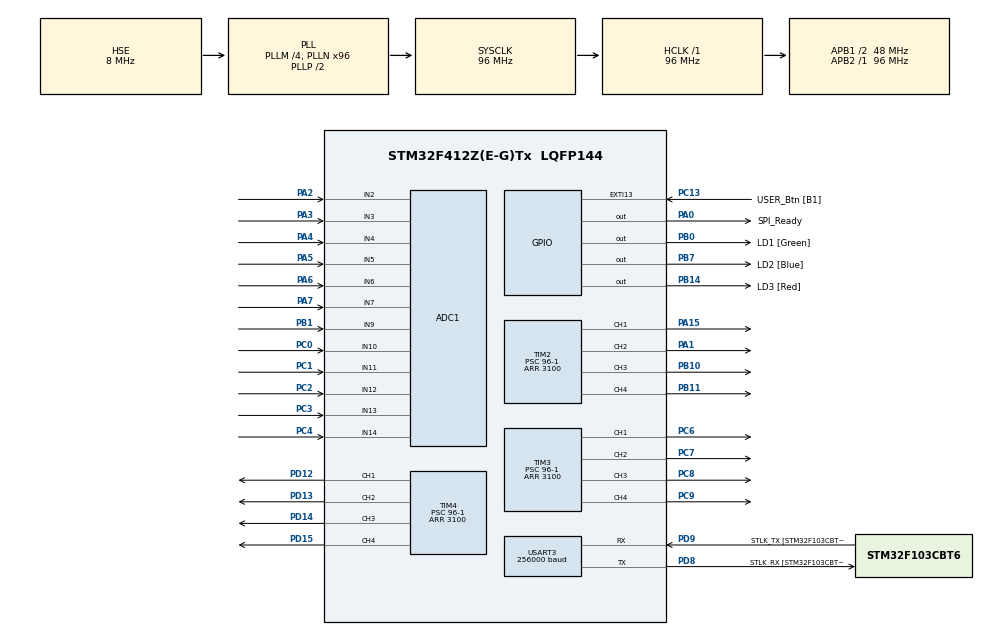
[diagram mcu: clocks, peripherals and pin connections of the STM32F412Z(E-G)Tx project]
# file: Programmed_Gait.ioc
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ADC1.Channel-0\#ChannelRegularConversion=ADC_CHANNEL_4
ADC1.Channel-1\#ChannelRegularConversion=ADC_CHANNEL_13
ADC1.Channel-10\#ChannelRegularConversion=ADC_CHANNEL_12
ADC1.Channel-11\#ChannelRegularConversion=ADC_CHANNEL_9
ADC1.Channel-2\#ChannelRegularConversion=ADC_CHANNEL_2
ADC1.Channel-3\#ChannelRegularConversion=ADC_CHANNEL_11
ADC1.Channel-4\#ChannelRegularConversion=ADC_CHANNEL_14
ADC1.Channel-5\#ChannelRegularConversion=ADC_CHANNEL_7
ADC1.Channel-6\#ChannelRegularConversion=ADC_CHANNEL_5
ADC1.Channel-7\#ChannelRegularConversion=ADC_CHANNEL_6
ADC1.Channel-8\#ChannelRegularConversion=ADC_CHANNEL_10
ADC1.Channel-9\#ChannelRegularConversion=ADC_CHANNEL_3
ADC1.ContinuousConvMode=ENABLE
ADC1.DMAContinuousRequests=ENABLE
ADC1.DataAlign=ADC_DATAALIGN_RIGHT
ADC1.EOCSelection=ADC_EOC_SEQ_CONV
ADC1.NbrOfConversion=12
ADC1.NbrOfConversionFlag=1
ADC1.Rank-0\#ChannelRegularConversion=1
ADC1.Rank-1\#ChannelRegularConversion=2
ADC1.Rank-10\#ChannelRegularConversion=11
ADC1.Rank-11\#ChannelRegularConversion=12
ADC1.Rank-2\#ChannelRegularConversion=3
ADC1.Rank-3\#ChannelRegularConversion=4
ADC1.Rank-4\#ChannelRegularConversion=5
ADC1.Rank-5\#ChannelRegularConversion=6
ADC1.Rank-6\#ChannelRegularConversion=7
ADC1.Rank-7\#ChannelRegularConversion=8
ADC1.Rank-8\#ChannelRegularConversion=9
ADC1.Rank-9\#ChannelRegularConversion=10
ADC1.SamplingTime-0\#ChannelRegularConversion=ADC_SAMPLETIME_84CYCLES
ADC1.SamplingTime-1\#ChannelRegularConversion=ADC_SAMPLETIME_84CYCLES
ADC1.SamplingTime-10\#ChannelRegularConversion=ADC_SAMPLETIME_84CYCLES
ADC1.SamplingTime-11\#ChannelRegularConversion=ADC_SAMPLETIME_84CYCLES
ADC1.SamplingTime-2\#ChannelRegularConversion=ADC_SAMPLETIME_84CYCLES
ADC1.SamplingTime-3\#ChannelRegularConversion=ADC_SAMPLETIME_84CYCLES
ADC1.SamplingTime-4\#ChannelRegularConversion=ADC_SAMPLETIME_84CYCLES
ADC1.SamplingTime-5\#ChannelRegularConversion=ADC_SAMPLETIME_84CYCLES
ADC1.SamplingTime-6\#ChannelRegularConversion=ADC_SAMPLETIME_84CYCLES
ADC1.SamplingTime-7\#ChannelRegularConversion=ADC_SAMPLETIME_84CYCLES
ADC1.SamplingTime-8\#ChannelRegularConversion=ADC_SAMPLETIME_84CYCLES
ADC1.SamplingTime-9\#ChannelRegularConversion=ADC_SAMPLETIME_84CYCLES
ADC1.ScanConvMode=ENABLE
ADC1.master=1
Dma.ADC1.0.Direction=DMA_PERIPH_TO_MEMORY
Dma.ADC1.0.FIFOMode=DMA_FIFOMODE_DISABLE
Dma.ADC1.0.Instance=DMA2_Stream4
Dma.ADC1.0.MemDataAlignment=DMA_MDATAALIGN_HALFWORD
Dma.ADC1.0.MemInc=DMA_MINC_ENABLE
Dma.ADC1.0.Mode=DMA_CIRCULAR
Dma.ADC1.0.PeriphDataAlignment=DMA_PDATAALIGN_HALFWORD
Dma.ADC1.0.PeriphInc=DMA_PINC_DISABLE
Dma.ADC1.0.Priority=DMA_PRIORITY_LOW
Dma.Request0=ADC1
Mcu.Family=STM32F4
Mcu.Name=STM32F412Z(E-G)Tx
Mcu.Package=LQFP144
NVIC.DMA2_Stream4_IRQn=true\:2\:0\:true\:false\:true\:false\:true\:true
NVIC.EXTI15_10_IRQn=true\:0\:0\:false\:false\:true\:true\:true\:true
NVIC.PriorityGroup=NVIC_PRIORITYGROUP_4
NVIC.TIM1_BRK_TIM9_IRQn=true\:0\:0\:true\:false\:true\:true\:true\:true
NVIC.TIM5_IRQn=true\:1\:0\:true\:false\:true\:true\:true\:true
PA0.GPIO_Label=SPI_Ready
PA0.Signal=GPIO_Output
PA1.Signal=S_TIM2_CH2
PA13.GPIO_Label=TMS
PA13.Mode=Serial_Wire
PA13.Signal=SYS_JTMS-SWDIO
PA14.GPIO_Label=TCK
PA14.Mode=Serial_Wire
PA14.Signal=SYS_JTCK-SWCLK
PA15.Signal=S_TIM2_CH1_ETR
PA2.Signal=ADCx_IN2
PA3.Signal=ADCx_IN3
PA4.Signal=ADCx_IN4
PA5.Signal=ADCx_IN5
PA6.Signal=ADCx_IN6
PA7.Signal=ADCx_IN7
PB0.GPIO_Label=LD1 [Green]
PB0.Signal=GPIO_Output
PB1.Signal=ADCx_IN9
PB10.Signal=S_TIM2_CH3
PB11.Signal=S_TIM2_CH4
PB14.GPIO_Label=LD3 [Red]
PB14.Signal=GPIO_Output
PB3.GPIO_Label=SWO
PB3.Signal=SYS_JTDO-SWO
PB7.GPIO_Label=LD2 [Blue]
PB7.Signal=GPIO_Output
PC0.Signal=ADCx_IN10
PC1.Signal=ADCx_IN11
PC10.Signal=SPI3_SCK
PC13.GPIO_Label=USER_Btn [B1]
PC13.Signal=GPXTI13
PC14-OSC32_IN.Mode=LSE-External-Oscillator
PC14-OSC32_IN.Signal=RCC_OSC32_IN
PC15-OSC32_OUT.Mode=LSE-External-Oscillator
PC15-OSC32_OUT.Signal=RCC_OSC32_OUT
PC2.Signal=ADCx_IN12
PC3.Signal=ADCx_IN13
PC4.Signal=ADCx_IN14
PC6.Signal=S_TIM3_CH1
PC7.Signal=S_TIM3_CH2
PC8.Signal=S_TIM3_CH3
PC9.Signal=S_TIM3_CH4
PD12.Signal=S_TIM4_CH1
PD13.Signal=S_TIM4_CH2
PD14.Signal=S_TIM4_CH3
PD15.Signal=S_TIM4_CH4
PD8.GPIO_Label=STLK_RX [STM32F103CBT6_PA3]
PD8.Mode=Asynchronous
PD8.Signal=USART3_TX
PD9.GPIO_Label=STLK_TX [STM32F103CBT6_PA2]
PD9.Mode=Asynchronous
PD9.Signal=USART3_RX
PH0\ -\ OSC_IN.GPIO_Label=MCO
PH0\ -\ OSC_IN.Mode=HSE-External-Clock-Source
PH0\ -\ OSC_IN.Signal=RCC_OSC_IN
PH1\ -\ OSC_OUT.Mode=HSE-External-Clock-Source
PH1\ -\ OSC_OUT.Signal=RCC_OSC_OUT
ProjectManager.HeapSize=0x2EE0
ProjectManager.StackSize=0x400
ProjectManager.TargetToolchain=Makefile
RCC.48MHZClocksFreq_Value=24000000
RCC.AHBFreq_Value=96000000
RCC.APB1CLKDivider=RCC_HCLK_DIV2
RCC.APB1Freq_Value=48000000
RCC.APB1TimFreq_Value=96000000
RCC.APB2Freq_Value=96000000
RCC.APB2TimFreq_Value=96000000
RCC.CortexFreq_Value=96000000
RCC.HCLKFreq_Value=96000000
RCC.HSE_VALUE=8000000
RCC.HSI_VALUE=16000000
RCC.PLLM=4
RCC.PLLMUL=RCC_PLL_MUL9
RCC.PLLN=96
RCC.PLLQ=4
RCC.PLLSourceVirtual=RCC_PLLSOURCE_HSE
RCC.PRESCALERUSB=RCC_USBCLKSOURCE_PLL_DIV1_5
RCC.SYSCLKFreq_VALUE=96000000
RCC.SYSCLKSource=RCC_SYSCLKSOURCE_PLLCLK
RCC.SYSCLKSourceVirtual=RCC_SYSCLKSOURCE_PLLCLK
RCC.USBFreq_Value=48000000
RCC.VCOOutputFreq_Value=192000000
SH.ADCx_IN10.0=ADC1_IN10,IN10
SH.ADCx_IN11.0=ADC1_IN11,IN11
SH.ADCx_IN12.0=ADC1_IN12,IN12
SH.ADCx_IN13.0=ADC1_IN13,IN13
SH.ADCx_IN14.0=ADC1_IN14,IN14
SH.ADCx_IN2.0=ADC1_IN2,IN2
SH.ADCx_IN3.0=ADC1_IN3,IN3
SH.ADCx_IN4.0=ADC1_IN4,IN4
SH.ADCx_IN5.0=ADC1_IN5,IN5
SH.ADCx_IN6.0=ADC1_IN6,IN6
SH.ADCx_IN7.0=ADC1_IN7,IN7
SH.ADCx_IN9.0=ADC1_IN9,IN9
SH.S_TIM2_CH1_ETR.0=TIM2_CH1,PWM Generation1 CH1
SH.S_TIM2_CH2.0=TIM2_CH2,PWM Generation2 CH2
SH.S_TIM2_CH3.0=TIM2_CH3,PWM Generation3 CH3
SH.S_TIM2_CH4.0=TIM2_CH4,PWM Generation4 CH4
SH.S_TIM3_CH1.0=TIM3_CH1,PWM Generation1 CH1
SH.S_TIM3_CH2.0=TIM3_CH2,PWM Generation2 CH2
SH.S_TIM3_CH3.0=TIM3_CH3,PWM Generation3 CH3
SH.S_TIM3_CH4.0=TIM3_CH4,PWM Generation4 CH4
SH.S_TIM4_CH1.0=TIM4_CH1,PWM Generation1 CH1
SH.S_TIM4_CH2.0=TIM4_CH2,PWM Generation2 CH2
SH.S_TIM4_CH3.0=TIM4_CH3,PWM Generation3 CH3
SH.S_TIM4_CH4.0=TIM4_CH4,PWM Generation4 CH4
TIM2.AutoReloadPreload=TIM_AUTORELOAD_PRELOAD_ENABLE
TIM2.Channel-PWM\ Generation1\ CH1=TIM_CHANNEL_1
TIM2.Channel-PWM\ Generation2\ CH2=TIM_CHANNEL_2
TIM2.Channel-PWM\ Generation3\ CH3=TIM_CHANNEL_3
TIM2.Channel-PWM\ Generation4\ CH4=TIM_CHANNEL_4
TIM2.OCFastMode_PWM-PWM\ Generation1\ CH1=TIM_OCFAST_ENABLE
TIM2.OCFastMode_PWM-PWM\ Generation2\ CH2=TIM_OCFAST_ENABLE
TIM2.OCFastMode_PWM-PWM\ Generation3\ CH3=TIM_OCFAST_ENABLE
TIM2.OCFastMode_PWM-PWM\ Generation4\ CH4=TIM_OCFAST_ENABLE
TIM2.Period=3100
TIM2.Prescaler=96-1
TIM2.Pulse-PWM\ Generation1\ CH1=0
TIM3.AutoReloadPreload=TIM_AUTORELOAD_PRELOAD_ENABLE
TIM3.Channel-PWM\ Generation1\ CH1=TIM_CHANNEL_1
TIM3.Channel-PWM\ Generation2\ CH2=TIM_CHANNEL_2
TIM3.Channel-PWM\ Generation3\ CH3=TIM_CHANNEL_3
TIM3.Channel-PWM\ Generation4\ CH4=TIM_CHANNEL_4
TIM3.OCFastMode_PWM-PWM\ Generation1\ CH1=TIM_OCFAST_ENABLE
TIM3.OCFastMode_PWM-PWM\ Generation2\ CH2=TIM_OCFAST_ENABLE
TIM3.OCFastMode_PWM-PWM\ Generation3\ CH3=TIM_OCFAST_ENABLE
TIM3.OCFastMode_PWM-PWM\ Generation4\ CH4=TIM_OCFAST_ENABLE
TIM3.Period=3100
TIM3.Prescaler=96-1
TIM4.AutoReloadPreload=TIM_AUTORELOAD_PRELOAD_ENABLE
TIM4.Channel-PWM\ Generation1\ CH1=TIM_CHANNEL_1
TIM4.Channel-PWM\ Generation2\ CH2=TIM_CHANNEL_2
TIM4.Channel-PWM\ Generation3\ CH3=TIM_CHANNEL_3
TIM4.Channel-PWM\ Generation4\ CH4=TIM_CHANNEL_4
TIM4.OCFastMode_PWM-PWM\ Generation1\ CH1=TIM_OCFAST_ENABLE
TIM4.OCFastMode_PWM-PWM\ Generation2\ CH2=TIM_OCFAST_ENABLE
TIM4.OCFastMode_PWM-PWM\ Generation3\ CH3=TIM_OCFAST_ENABLE
TIM4.OCFastMode_PWM-PWM\ Generation4\ CH4=TIM_OCFAST_ENABLE
TIM4.Period=3100
TIM4.Prescaler=96-1
TIM5.Period=500
TIM5.Prescaler=96-1
TIM9.Period=10000
TIM9.Prescaler=96-1
USART3.BaudRate=256000
USART3.VirtualMode=VM_ASYNC
VP_TIM2_VS_ClockSourceINT.Mode=Internal
VP_TIM3_VS_ClockSourceINT.Mode=Internal
VP_TIM4_VS_ClockSourceINT.Mode=Internal
VP_TIM5_VS_ClockSourceINT.Mode=Internal
VP_TIM9_VS_ClockSourceINT.Mode=Internal
board=NUCLEO-F412ZG

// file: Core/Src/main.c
/* USER CODE BEGIN Header */
/**
 ******************************************************************************
 * @file           : main.c
 * @brief          : Main program body
 ******************************************************************************
 * @attention
 *
 * Copyright (c) 2024 STMicroelectronics.
 * All rights reserved.
 *
 * This software is licensed under terms that can be found in the LICENSE file
 * in the root directory of this software component.
 * If no LICENSE file comes with this software, it is provided AS-IS.
 *
 ******************************************************************************
 */
/* USER CODE END Header */
#include "main.h"
#include "adc.h"
#include "dma.h"
#include "tim.h"
#include "usart.h"
#include "gpio.h"

/* USER CODE BEGIN Includes */
#include <math.h>
#include <string.h>
#include "arm_math.h"
#include "calibration_ADC.h"

#include "signal_processing.h"
/* USER CODE END Includes */

/* USER CODE BEGIN PD */

// Number of joints
#define JOINTS 12

//Ranges for each type of joint
#define BODY_RANGE_MAX 15.0
#define BODY_RANGE_MIN -10.0
#define FEMUR_RANGE_MAX 55.0
#define FEMUR_RANGE_MIN -35.0
#define TIBIA_RANGE_MAX 40//15.0
#define TIBIA_RANGE_MIN -96//-15.0
// 0PWM_BFR,1PWM_BBR, 2PWM_BBL, 3PWM_TFR, 4PWM_FFR, 5PWM_BFL, 6PWM_FFL, 7PWM_TFL, 8PWM_FBL, 9PWM_TBL, 10PWM_TBR, 11PWM_FBR

//WITHOUT PID
#define DELTA_REF_FEMUR 42.65021f
#define DELTA_REF_TIBIA 18.34979f
#define DELTA_REF_BODY  0

#define MID_POINT_BFR 96.1285553f
#define MID_POINT_BBR 80.5f
#define MID_POINT_BBL 85.4869385f
#define MID_POINT_TFR (69.0105972f + DELTA_REF_TIBIA)
#define MID_POINT_FFR (71.9034348f + DELTA_REF_FEMUR)
#define MID_POINT_BFL 93.9473724f
#define MID_POINT_FFL (134.817856f - DELTA_REF_FEMUR)
#define MID_POINT_TFL (120.135033f - DELTA_REF_TIBIA)
#define MID_POINT_FBL (130.440994f - DELTA_REF_FEMUR)
#define MID_POINT_TBL (122.615303f - DELTA_REF_TIBIA)
#define MID_POINT_TBR (55.4315529f + DELTA_REF_TIBIA)
#define MID_POINT_FBR (55.8714142f + DELTA_REF_FEMUR)

#define TIM9_TICK (float32_t)0.01 //s
#define TIM5_TICK (float32_t)0.5 //ms

#define ONE_SECOND 1000/TIM5_TICK  //milliseconds

// Parameters to transform Degrees(�) values to PWM (Ton in microseconds)
#define K_TON (float32_t)(1000.0 / 140.0)
#define BIAS_TON (float32_t)500

//Median Filter
#define WINDOW_SIZE 80

//PROGRAMMED GAIT CONSTANTS
#define PREPARE_TIME 0.3f //seconds
#define PARABOLA_TIME 0.2f //seconds
#define RESTORE_TIME 0.3f //seconds
#define MOVE_FWD_TIME 0.1f //seconds

#define GAIT_PERIOD (4*PREPARE_TIME+4*PARABOLA_TIME+4*RESTORE_TIME+4*MOVE_FWD_TIME) //seconds

#define BL 0
#define FL 1
#define BR 2
#define FR 3

#define STANDING_HEIGHT (float32_t)160  //mm //135.75 //mm

#define PARABOLA_HEIGHT (float32_t)40		//mm
#define PARABOLA_LENGTH (float32_t)100  //mm

#define L_FEMUR (float32_t)100 //mm
#define L_TIBIA (float32_t)100.70866 //mm
#define PSI (float32_t)2.51591*M_PI/180 //rad

#define A (float32_t)24 //mm
#define B (float32_t)40.5 //mm
#define C (float32_t)28.66176 //mm
#define D (float32_t)27 //mm

#define DELTA (float32_t)0.7984834029 //rad
#define EPSILON (float32_t)1.570796327 //rad

#define MID_POINT_SOLID_FEMUR (float32_t)42.65021 //deg
#define MID_POINT_SOLID_TIBIA (float32_t)16.75397157 //deg

/* USER CODE END PD */

/* USER CODE BEGIN PM */
#define __round_uint(x) ((x) >= 0 ? (uint16_t)((x) + (float32_t)0.5) : (uint16_t)((x) - (float32_t)0.5))
#define __round_int(x) ((x) >= 0 ? (int16_t)((x) + (float32_t)0.5) : (int16_t)((x) - (float32_t)0.5))
/* USER CODE END PM */

/* USER CODE BEGIN PV */
// For tx floats under UART (Serial plot)
typedef union float2byte
{
  float angle;
  uint8_t angle_bytes[4];
} float2byte;

//Median filter
volatile float32_t filter_in_arm_angle[12];
volatile float32_t median_filteredValue[JOINTS];
volatile spMedianFilter median_filter[JOINTS];

// PID Variables
volatile float32_t error = 0;
volatile float32_t previous_error[JOINTS] = {0, 0, 0, 0, 0, 0, 0, 0, 0, 0, 0, 0};
volatile float32_t control_signal = 0;
volatile float32_t error_acum[JOINTS] = {0, 0, 0, 0, 0, 0, 0, 0, 0, 0, 0, 0};
volatile float32_t error_dif = 0;
volatile uint16_t pwm_pid_out[JOINTS] = {0, 0, 0, 0, 0, 0, 0, 0, 0, 0, 0, 0};

// PID constants
float32_t kp[JOINTS] = {0.25,0.25,0.25,0.25,0.25,0.25,0.25,0.25,0.25,0.25,0.25,0.25};
float32_t kd[JOINTS] = {0,0,0,0,0,0,0,0,0,0,0,0};
float32_t ki[JOINTS] = {0.1,0.1,0.1,0.1,0.1,0.1,0.1,0.1,0.1,0.1,0.1,0.1};

// Offset of each joint
const float32_t mid_point_joints[12] = {MID_POINT_BFR, MID_POINT_BBR, MID_POINT_BBL, MID_POINT_TFR, MID_POINT_FFR, MID_POINT_BFL, MID_POINT_FFL, MID_POINT_TFL, MID_POINT_FBL, MID_POINT_TBL, MID_POINT_TBR, MID_POINT_FBR};

// Global Flags for state machines
volatile uint8_t up_down_vector[JOINTS] = {0, 0, 0, 0, 0, 0, 0, 0, 0, 0, 0, 0}; // To know if the servos have to go up or down: 1 is up, 0 is down

// Arrays used to set the pwm of each servo in a for loop
TIM_HandleTypeDef* htim[3];
uint32_t channel[4] = {TIM_CHANNEL_1, TIM_CHANNEL_2, TIM_CHANNEL_3, TIM_CHANNEL_4};

const float32_t joint_range[12][2] = {{BODY_RANGE_MIN, BODY_RANGE_MAX},
                                    {-BODY_RANGE_MAX, -BODY_RANGE_MIN},
                                    {-BODY_RANGE_MAX, -BODY_RANGE_MIN},
                                    {TIBIA_RANGE_MIN, TIBIA_RANGE_MAX},
                                    {FEMUR_RANGE_MIN, FEMUR_RANGE_MAX},
                                    {BODY_RANGE_MIN, BODY_RANGE_MAX},
                                    {-FEMUR_RANGE_MAX, -FEMUR_RANGE_MIN},
                                    {-TIBIA_RANGE_MAX, -TIBIA_RANGE_MIN},
                                    {-FEMUR_RANGE_MAX, -FEMUR_RANGE_MIN},
                                    {-TIBIA_RANGE_MAX, -TIBIA_RANGE_MIN},
                                    {TIBIA_RANGE_MIN, TIBIA_RANGE_MAX},
                                    {FEMUR_RANGE_MIN, FEMUR_RANGE_MAX}};

// Global Buffers
// Buffer rx SPI
volatile float32_t target_joint[12] ={MID_POINT_BFR, MID_POINT_BBR, MID_POINT_BBL, MID_POINT_TFR, MID_POINT_FFR, MID_POINT_BFL, MID_POINT_FFL, MID_POINT_TFL, MID_POINT_FBL, MID_POINT_TBL, MID_POINT_TBR, MID_POINT_FBR};
volatile uint16_t raw_angle_ADC[2][12] = {0, 0, 0, 0, 0, 0, 0, 0, 0, 0, 0, 0}; // ADC measurement with DMA

volatile uint8_t current_buffer = 0;

// Ticks of timer
volatile uint8_t send_uart = 0;
volatile uint16_t time_debounce = 0;  //To debounce user button

// Init program at reset with user button
volatile uint8_t init_nucleo = 0;

volatile uint8_t pid_enable = 0;

// Calibration variables
const float32_t *calibration_table[12] = {&ADC_VALUES_SERVO_0[0][0], &ADC_VALUES_SERVO_1[0][0], &ADC_VALUES_SERVO_2[0][0], &ADC_VALUES_SERVO_3[0][0], &ADC_VALUES_SERVO_4[0][0], &ADC_VALUES_SERVO_5[0][0], &ADC_VALUES_SERVO_6[0][0], &ADC_VALUES_SERVO_7[0][0], &ADC_VALUES_SERVO_8[0][0], &ADC_VALUES_SERVO_9[0][0], &ADC_VALUES_SERVO_10[0][0], &ADC_VALUES_SERVO_11[0][0]};

/////////////////////////////

// VARIABLES QUE NO DEBEN SER GLOBALES, pero es mas c�modo para debuggear

// podr�an ser locales
volatile float32_t f_joint_angle[JOINTS] = {0, 0, 0, 0, 0, 0, 0, 0, 0, 0, 0, 0};
volatile uint8_t uart_tx_buffer[2 + 12 * 4 + 12 * 4 + 12 * 4 + 12 * 4];

volatile float32_t H[4] = {STANDING_HEIGHT,STANDING_HEIGHT,STANDING_HEIGHT,STANDING_HEIGHT};
volatile float32_t D1[4] = {-PARABOLA_LENGTH/4,PARABOLA_LENGTH/2,PARABOLA_LENGTH/4,0};

volatile float32_t phi_femur_servo[4] = {0,0,0,0};
volatile float32_t phi_tibia_servo[4] = {0,0,0,0};

/* USER CODE END PV */

void SystemClock_Config(void);
/* USER CODE BEGIN PFP */
void prepare_for_parabola(uint8_t primary_limb, uint8_t secondary_limb,float32_t height, float32_t initial_phase, float32_t current_phase);
void parabola(uint8_t limb, float32_t initial_phase, float32_t current_phase);
void restore_assisting_limbs(uint8_t primary_limb, uint8_t secondary_limb,float32_t height, float32_t initial_phase, float32_t current_phase);
void move_forward(void);
void compute_angles(void);

float adc2angle(uint16_t adc_value, uint8_t up_down, const float32_t *table_ptr);
uint16_t angle2ton_us(float);
float ton_us2angle(uint16_t ton_us);
void move_servos(uint8_t joint, uint16_t ton);

int8_t State_Machine_Actuation(void);
void State_Machine_Control(void);
/* USER CODE END PFP */

/* USER CODE BEGIN 0 */

// CAMBIAR NOMBRES PARA QUE SEA MAS DESCRIPTIVO
float2byte u_dummy1;
float2byte u_dummy2;
float2byte u_dummy3;
float2byte u_dummy4;
/* USER CODE END 0 */

int main(void)
{

  /* MCU Configuration--------------------------------------------------------*/

  /* Reset of all peripherals, Initializes the Flash interface and the Systick. */
  HAL_Init();

  /* Configure the system clock */
  SystemClock_Config();

  /* Initialize all configured peripherals */
  MX_GPIO_Init();
  MX_DMA_Init();
  MX_TIM2_Init();
  MX_USART3_UART_Init();
  MX_ADC1_Init();
  MX_TIM3_Init();
  MX_TIM4_Init();
  MX_TIM5_Init();
  MX_TIM9_Init();
  /* USER CODE BEGIN 2 */
	while(init_nucleo == 0) HAL_Delay(10);

  HAL_TIM_Base_Start(&htim2);
  HAL_TIM_Base_Start(&htim2);
  HAL_TIM_PWM_Start(&htim2, TIM_CHANNEL_1);
  HAL_TIM_PWM_Start(&htim2, TIM_CHANNEL_2);
  HAL_TIM_PWM_Start(&htim2, TIM_CHANNEL_3);
  HAL_TIM_PWM_Start(&htim2, TIM_CHANNEL_4);

  HAL_TIM_Base_Start(&htim3);
  HAL_TIM_PWM_Start(&htim3, TIM_CHANNEL_1);
  HAL_TIM_PWM_Start(&htim3, TIM_CHANNEL_2);
  HAL_TIM_PWM_Start(&htim3, TIM_CHANNEL_3);
  HAL_TIM_PWM_Start(&htim3, TIM_CHANNEL_4);

  HAL_TIM_Base_Start(&htim4);
  HAL_TIM_PWM_Start(&htim4, TIM_CHANNEL_1);
  HAL_TIM_PWM_Start(&htim4, TIM_CHANNEL_2);
  HAL_TIM_PWM_Start(&htim4, TIM_CHANNEL_3);
  HAL_TIM_PWM_Start(&htim4, TIM_CHANNEL_4);

  for (uint8_t joint = 0; joint < 12; joint++)
  {
		median_filter[joint] = spCreateMedianFilter(WINDOW_SIZE);
		pwm_pid_out[joint] = angle2ton_us(mid_point_joints[joint]);
  }

  while (HAL_ADC_Start_DMA(&hadc1, (uint32_t *)raw_angle_ADC, 12 * 2) == HAL_BUSY)
    ;

  // Initialize htim vector used to set pwm in for loops
  htim[0] = &htim2;
  htim[1] = &htim3;
  htim[2] = &htim4;

  /* USER CODE END 2 */

  /* Infinite loop */
  /* USER CODE BEGIN WHILE */

  // Main state
  uart_tx_buffer[0] = 0xFF;
  uart_tx_buffer[1] = 0xFF;

  // Joints set to default initial angle
  // for (uint8_t joint = 0; joint < JOINTS; joint++)
  // {
  //   move_servos(joint, angle2ton_us(mid_point_joints[joint]));
  // }

  compute_angles();

  HAL_Delay(5000);

  while (HAL_TIM_Base_Start_IT(&htim5) == HAL_BUSY);

  while (HAL_TIM_Base_Start_IT(&htim9) == HAL_BUSY);

  while (1)
  {
    //Serial Plot
    if (send_uart)
    {
      for (int i = 0; i < JOINTS; i++)
      {
				u_dummy1.angle = target_joint[i];
        u_dummy2.angle = ton_us2angle(pwm_pid_out[i]);
				u_dummy3.angle = error_acum[i];
        u_dummy4.angle = f_joint_angle[i];

        uart_tx_buffer[16 * i + 2] = u_dummy1.angle_bytes[3];
        uart_tx_buffer[16 * i + 3] = u_dummy1.angle_bytes[2];
        uart_tx_buffer[16 * i + 4] = u_dummy1.angle_bytes[1];
        uart_tx_buffer[16 * i + 5] = u_dummy1.angle_bytes[0];

        uart_tx_buffer[16 * i + 6] = u_dummy2.angle_bytes[3];
        uart_tx_buffer[16 * i + 7] = u_dummy2.angle_bytes[2];
        uart_tx_buffer[16 * i + 8] = u_dummy2.angle_bytes[1];
        uart_tx_buffer[16 * i + 9] = u_dummy2.angle_bytes[0];

				uart_tx_buffer[16 * i + 10] = u_dummy3.angle_bytes[3];
        uart_tx_buffer[16 * i + 11] = u_dummy3.angle_bytes[2];
        uart_tx_buffer[16 * i + 12] = u_dummy3.angle_bytes[1];
        uart_tx_buffer[16 * i + 13] = u_dummy3.angle_bytes[0];

				uart_tx_buffer[16 * i + 14] = u_dummy4.angle_bytes[3];
        uart_tx_buffer[16 * i + 15] = u_dummy4.angle_bytes[2];
        uart_tx_buffer[16 * i + 16] = u_dummy4.angle_bytes[1];
        uart_tx_buffer[16 * i + 17] = u_dummy4.angle_bytes[0];
      }
			HAL_UART_Transmit(&huart3, (const uint8_t*) uart_tx_buffer, 16 * JOINTS + 2, HAL_MAX_DELAY);

      send_uart = 0;
    }
  }

    /* USER CODE END WHILE */

}

void SystemClock_Config(void)
{
  RCC_OscInitTypeDef RCC_OscInitStruct = {0};
  RCC_ClkInitTypeDef RCC_ClkInitStruct = {0};

  /** Configure the main internal regulator output voltage
  */
  __HAL_RCC_PWR_CLK_ENABLE();
  __HAL_PWR_VOLTAGESCALING_CONFIG(PWR_REGULATOR_VOLTAGE_SCALE1);

  /** Initializes the RCC Oscillators according to the specified parameters
  * in the RCC_OscInitTypeDef structure.
  */
  RCC_OscInitStruct.OscillatorType = RCC_OSCILLATORTYPE_HSE;
  RCC_OscInitStruct.HSEState = RCC_HSE_BYPASS;
  RCC_OscInitStruct.PLL.PLLState = RCC_PLL_ON;
  RCC_OscInitStruct.PLL.PLLSource = RCC_PLLSOURCE_HSE;
  RCC_OscInitStruct.PLL.PLLM = 4;
  RCC_OscInitStruct.PLL.PLLN = 96;
  RCC_OscInitStruct.PLL.PLLP = RCC_PLLP_DIV2;
  RCC_OscInitStruct.PLL.PLLQ = 4;
  RCC_OscInitStruct.PLL.PLLR = 2;
  if (HAL_RCC_OscConfig(&RCC_OscInitStruct) != HAL_OK)
  {
    Error_Handler();
  }

  /** Initializes the CPU, AHB and APB buses clocks
  */
  RCC_ClkInitStruct.ClockType = RCC_CLOCKTYPE_HCLK|RCC_CLOCKTYPE_SYSCLK
                              |RCC_CLOCKTYPE_PCLK1|RCC_CLOCKTYPE_PCLK2;
  RCC_ClkInitStruct.SYSCLKSource = RCC_SYSCLKSOURCE_PLLCLK;
  RCC_ClkInitStruct.AHBCLKDivider = RCC_SYSCLK_DIV1;
  RCC_ClkInitStruct.APB1CLKDivider = RCC_HCLK_DIV2;
  RCC_ClkInitStruct.APB2CLKDivider = RCC_HCLK_DIV1;

  if (HAL_RCC_ClockConfig(&RCC_ClkInitStruct, FLASH_LATENCY_3) != HAL_OK)
  {
    Error_Handler();
  }
}

/* USER CODE BEGIN 4 */

void HAL_ADC_ConvHalfCpltCallback(ADC_HandleTypeDef *hadc)
{
  current_buffer = 0;
}

void HAL_ADC_ConvCpltCallback(ADC_HandleTypeDef *hadc)
{
  current_buffer = 1;
}

void HAL_GPIO_EXTI_Callback(uint16_t GPIO_Pin)
{
	if(GPIO_Pin == USER_Btn_Pin && init_nucleo == 0)
	{
		init_nucleo = 1;
    time_debounce = ONE_SECOND;
	}else if(GPIO_Pin == USER_Btn_Pin && init_nucleo == 1 && time_debounce == 0)
  {
    pid_enable = 0;  //disable PID

		for (uint8_t joint = 0; joint < JOINTS; joint++)

			__HAL_TIM_SET_COMPARE(htim[joint / 4], channel[joint % 4], angle2ton_us(mid_point_joints[joint]));

		HAL_Delay(1000);  //Delay to ignore bouncing of user button, and establish the default position before reset

		//Turn off pwm without interrupting ton.
		for(uint8_t i= 0; i<JOINTS;i++)
		{
			//wait for ton to finish
			while(__HAL_TIM_GET_COUNTER(htim[i / 4]) < __HAL_TIM_GET_COMPARE(htim[i / 4], channel[i % 4]));

			HAL_TIM_PWM_Stop(htim[i / 4], channel[i % 4]);
		}

		HAL_NVIC_SystemReset();
  }
}

void HAL_TIM_PeriodElapsedCallback(TIM_HandleTypeDef *timer)
{
  static float32_t t_step = 0;
  static float32_t phase = 0;

  if (timer == &htim5)
  {
    if (time_debounce > 0)
      time_debounce--;

    uint8_t buffer_to_copy = current_buffer;

    for (uint8_t joint = 0; joint < 12; joint++)
    {
      filter_in_arm_angle[joint] = raw_angle_ADC[buffer_to_copy][joint];
			median_filteredValue[joint] = spMedianFilterInsert(median_filter[joint], filter_in_arm_angle[joint]);  //Median Filter
    }

  }

  if (timer == &htim9)
  {
    if(t_step >= GAIT_PERIOD) t_step = 0;

    phase = t_step / GAIT_PERIOD;

    //*Compute H and D1 (0-BL, 1-FL, 2-BR, 3-FR)
    //Stage 0
    if (phase < PREPARE_TIME/GAIT_PERIOD)
      //Lift BR (BL assists)
      prepare_for_parabola(BR,BL,20,0,phase);

    //Stage 1
    else if (phase < (PREPARE_TIME+PARABOLA_TIME)/GAIT_PERIOD)
      //Parabola forward FL
      parabola(FL, PREPARE_TIME/GAIT_PERIOD,phase);

    //Stage 2
    else if (phase < (PREPARE_TIME+PARABOLA_TIME+RESTORE_TIME)/GAIT_PERIOD)
      //Restore BR and BL
      restore_assisting_limbs(BR,BL,20,(PREPARE_TIME+PARABOLA_TIME)/GAIT_PERIOD,phase);

    //Stage 3
    else if (phase < (PREPARE_TIME+PARABOLA_TIME+RESTORE_TIME+MOVE_FWD_TIME)/GAIT_PERIOD)
      //Move all limbs backwards to push the body forward
      move_forward();

    //Stage 4
    else if (phase < (2*PREPARE_TIME+PARABOLA_TIME+RESTORE_TIME+MOVE_FWD_TIME)/GAIT_PERIOD)
      //Lift FL (FR assists)
      prepare_for_parabola(FL,FR,20,(PREPARE_TIME+PARABOLA_TIME+RESTORE_TIME+MOVE_FWD_TIME)/GAIT_PERIOD,phase);

    //Stage 5
    else if (phase < (2*PREPARE_TIME+2*PARABOLA_TIME+RESTORE_TIME+MOVE_FWD_TIME)/GAIT_PERIOD)
      //Parabola forward BR
      parabola(BR, (2*PREPARE_TIME+PARABOLA_TIME+RESTORE_TIME+MOVE_FWD_TIME)/GAIT_PERIOD,phase);

    //Stage 6
    else if (phase < (2*PREPARE_TIME+2*PARABOLA_TIME+2*RESTORE_TIME+MOVE_FWD_TIME)/GAIT_PERIOD)
      //Restore FR and FL
      restore_assisting_limbs(FL,FR,20,(2*PREPARE_TIME+2*PARABOLA_TIME+RESTORE_TIME+MOVE_FWD_TIME)/GAIT_PERIOD,phase);

    //Stage 7
    else if (phase < (2*PREPARE_TIME+2*PARABOLA_TIME+2*RESTORE_TIME+2*MOVE_FWD_TIME)/GAIT_PERIOD)
      //Move all limbs backwards to push the body forward
      move_forward();

    //Stage 8
    else if (phase < (3*PREPARE_TIME+2*PARABOLA_TIME+2*RESTORE_TIME+2*MOVE_FWD_TIME)/GAIT_PERIOD)
      //Lift BL (BR assists)
      prepare_for_parabola(BL,BR,20,(2*PREPARE_TIME+2*PARABOLA_TIME+2*RESTORE_TIME+2*MOVE_FWD_TIME)/GAIT_PERIOD,phase);

    //Stage 9
    else if (phase < (3*PREPARE_TIME+3*PARABOLA_TIME+2*RESTORE_TIME+2*MOVE_FWD_TIME)/GAIT_PERIOD)
      //Parabola forward FR
      parabola(FR, (3*PREPARE_TIME+2*PARABOLA_TIME+2*RESTORE_TIME+2*MOVE_FWD_TIME)/GAIT_PERIOD,phase);

    //Stage 10
    else if (phase < (3*PREPARE_TIME+3*PARABOLA_TIME+3*RESTORE_TIME+2*MOVE_FWD_TIME)/GAIT_PERIOD)
      //Restore BL and BR
      restore_assisting_limbs(BL,BR,20,(3*PREPARE_TIME+3*PARABOLA_TIME+2*RESTORE_TIME+2*MOVE_FWD_TIME)/GAIT_PERIOD,phase);

    //Stage 11
    else if (phase < (3*PREPARE_TIME+3*PARABOLA_TIME+3*RESTORE_TIME+3*MOVE_FWD_TIME)/GAIT_PERIOD)
      //Move all limbs backwards to push the body forward
      move_forward();

    //Stage 12
    else if (phase < (4*PREPARE_TIME+3*PARABOLA_TIME+3*RESTORE_TIME+3*MOVE_FWD_TIME)/GAIT_PERIOD)
      //Lift FR (FL assists)
      prepare_for_parabola(FR,FL,20,(3*PREPARE_TIME+3*PARABOLA_TIME+3*RESTORE_TIME+3*MOVE_FWD_TIME)/GAIT_PERIOD,phase);

    //Stage 13
    else if (phase < (4*PREPARE_TIME+4*PARABOLA_TIME+3*RESTORE_TIME+3*MOVE_FWD_TIME)/GAIT_PERIOD)
      //Parabola forward BL
      parabola(BL, (4*PREPARE_TIME+3*PARABOLA_TIME+3*RESTORE_TIME+3*MOVE_FWD_TIME)/GAIT_PERIOD,phase);

    //Stage 14
    else if (phase < (4*PREPARE_TIME+4*PARABOLA_TIME+4*RESTORE_TIME+3*MOVE_FWD_TIME)/GAIT_PERIOD)
      //Restore FR and FL
      restore_assisting_limbs(FR,FL,20,(4*PREPARE_TIME+4*PARABOLA_TIME+3*RESTORE_TIME+3*MOVE_FWD_TIME)/GAIT_PERIOD,phase);

    //Stage 15
    else if (phase < (4*PREPARE_TIME+4*PARABOLA_TIME+4*RESTORE_TIME+4*MOVE_FWD_TIME)/GAIT_PERIOD)
      //Move all limbs backwards to push the body forward
      move_forward();

    t_step +=(float32_t)0.01;
		compute_angles();
    send_uart = 1;
	}
}

void prepare_for_parabola(uint8_t primary_limb, uint8_t secondary_limb,float32_t height,float32_t initial_phase , float32_t current_phase)
{
  H[primary_limb] = STANDING_HEIGHT - height/(PREPARE_TIME/GAIT_PERIOD) * (current_phase - initial_phase);
  H[secondary_limb] = STANDING_HEIGHT - 10/(PREPARE_TIME/GAIT_PERIOD) * (current_phase - initial_phase);
}

void parabola(uint8_t limb,float32_t initial_phase ,float32_t current_phase)
{
  H[limb] = STANDING_HEIGHT - PARABOLA_HEIGHT * ( 1 - 4*powf(-(current_phase-initial_phase)/(PARABOLA_TIME/GAIT_PERIOD)+0.5f,2) );
  D1[limb] = PARABOLA_LENGTH/2 - (current_phase-initial_phase) * PARABOLA_LENGTH/(PARABOLA_TIME/GAIT_PERIOD);
}

void restore_assisting_limbs(uint8_t primary_limb, uint8_t secondary_limb,float32_t height, float32_t initial_phase, float32_t current_phase)
{
  H[primary_limb] = STANDING_HEIGHT - height + height/(RESTORE_TIME/GAIT_PERIOD) * (current_phase-initial_phase);
  H[secondary_limb] = STANDING_HEIGHT - 10 + 10/(RESTORE_TIME/GAIT_PERIOD) * (current_phase-initial_phase);
}

void move_forward(void)
{
  D1[BL] += (TIM9_TICK/GAIT_PERIOD) * (PARABOLA_LENGTH/4)/(MOVE_FWD_TIME/GAIT_PERIOD);
  D1[FL] += (TIM9_TICK/GAIT_PERIOD) * (PARABOLA_LENGTH/4)/(MOVE_FWD_TIME/GAIT_PERIOD);
  D1[BR] += (TIM9_TICK/GAIT_PERIOD) * (PARABOLA_LENGTH/4)/(MOVE_FWD_TIME/GAIT_PERIOD);
  D1[FR] += (TIM9_TICK/GAIT_PERIOD) * (PARABOLA_LENGTH/4)/(MOVE_FWD_TIME/GAIT_PERIOD);
}

void compute_angles(void)
{
  float32_t D2_sqrd, D2, phi_femur,phi_tibia,W,W_sqrd = 0;

  for (uint8_t limb = 0; limb < 4; limb++)
  {
    //*Compute Femur and tibia angles
    D2_sqrd = H[limb]*H[limb] + D1[limb]*D1[limb];
    D2 = sqrtf(D2_sqrd);

    phi_femur = M_PI/2 - atanf(D1[limb]/H[limb]) - acosf((D2_sqrd + L_FEMUR*L_FEMUR-L_TIBIA*L_TIBIA)/(2*L_FEMUR*D2));
    phi_tibia = M_PI/2 + atanf(D1[limb]/H[limb]) - acosf((D2_sqrd + L_TIBIA*L_TIBIA-L_FEMUR*L_FEMUR)/(2*L_TIBIA*D2));

    phi_tibia = phi_tibia + PSI;

    //*Translate tibia angle to tibia servo angle
    W_sqrd = C*C + D*D - 2*C*D*cosf(M_PI+DELTA-EPSILON-phi_tibia);
    W = sqrtf(W_sqrd);

    phi_tibia_servo[limb] = M_PI - DELTA - acosf((C*C + W_sqrd - D*D) / (2*C*W)) - acosf((A*A + W_sqrd - B*B) / (2*A*W));

    //*Translate angles used in kinematics equations to calibrated servo values
    phi_femur_servo[limb] = -phi_femur*180/M_PI + MID_POINT_SOLID_FEMUR;
    phi_tibia_servo[limb] = -phi_tibia_servo[limb] *180/M_PI + MID_POINT_SOLID_TIBIA;
  }
  //*Add servo mid points to compute final targets
  // 0PWM_BFR,1PWM_BBR, 2PWM_BBL, 3PWM_TFR, 4PWM_FFR, 5PWM_BFL, 6PWM_FFL, 7PWM_TFL, 8PWM_FBL, 9PWM_TBL, 10PWM_TBR, 11PWM_FBR
  target_joint[8] = phi_femur_servo[0] + mid_point_joints[8];     //FBL
  target_joint[9] = phi_tibia_servo[0] + mid_point_joints[9];     //TBL

  target_joint[6] = phi_femur_servo[1] + mid_point_joints[6];     //FFL
  target_joint[7] = phi_tibia_servo[1] + mid_point_joints[7];     //TFL

  target_joint[11] = -phi_femur_servo[2] + mid_point_joints[11];  //FBR
  target_joint[10] = -phi_tibia_servo[2] + mid_point_joints[10];  //TBR

  target_joint[4] = -phi_femur_servo[3] + mid_point_joints[4];    //FFR
  target_joint[3] = -phi_tibia_servo[3] + mid_point_joints[3];    //TFR

  for(uint8_t joint = 0; joint < 12; joint++)
  {
    //If target_joint is below min range, move to min range
    if(target_joint[joint] < (mid_point_joints[joint] + joint_range[joint][0]))
      move_servos(joint, angle2ton_us(mid_point_joints[joint] + joint_range[joint][0]));

    //If target_joint is above max range, move to max range
    else if(target_joint[joint] > (mid_point_joints[joint] + joint_range[joint][1]))
      move_servos(joint, angle2ton_us(mid_point_joints[joint] + joint_range[joint][1]));

    //Else move it to target_joint
    else
      move_servos(joint, angle2ton_us(target_joint[joint]));
  }
}

// Convert ADC_value of ACCUMULATED measurement to angle in degrees using linear interpolation
float adc2angle(uint16_t adc_value, uint8_t up_down, const float32_t *table_ptr)
{
  uint16_t index = 0;

  const float32_t *ADC_VALUES = table_ptr;

  while (adc_value > ADC_VALUES[up_down * MED_CALIB + index] / 5) // Busco el c?digo en la tabla obtenida en la calibracion
  {
    index++;
    if (index > MED_CALIB - 1)
      return 266; //adc_value greater than maximum value of table
  }

  if (adc_value == ADC_VALUES[up_down * MED_CALIB + index] / 5) // Si el c?digo est? en la tabla, devuelvo el angulo correspondiente
    return ANGLES[index];

  else if (index == 0)
    return 0; // adc_value lesser than minimum value of table

  else // Si es menor al codigo de la tabla, realizo una interpolacion lineal
    return (ANGLES[index - 1] * (ADC_VALUES[up_down * MED_CALIB + index] / 5 - adc_value) + ANGLES[index] * (adc_value - ADC_VALUES[up_down * MED_CALIB + index - 1] / 5)) / (ADC_VALUES[up_down * MED_CALIB + index] / 5 - ADC_VALUES[up_down * MED_CALIB + index - 1] / 5);
}

uint16_t angle2ton_us(float angle_value)
{
  uint16_t ton_us = 0;

  ton_us = __round_uint(angle_value * K_TON + BIAS_TON);

  return ton_us;
}
float ton_us2angle(uint16_t ton_us)
{
  float angle_value = 0.0;

  angle_value = (ton_us - BIAS_TON) / K_TON;

  return angle_value;
}
void move_servos(uint8_t joint, uint16_t ton)
{
  __HAL_TIM_SET_COMPARE(htim[joint / 4], channel[joint % 4], ton);
}

/* USER CODE END 4 */

void Error_Handler(void)
{
  __disable_irq();
  while (1)
  {
  }
}
